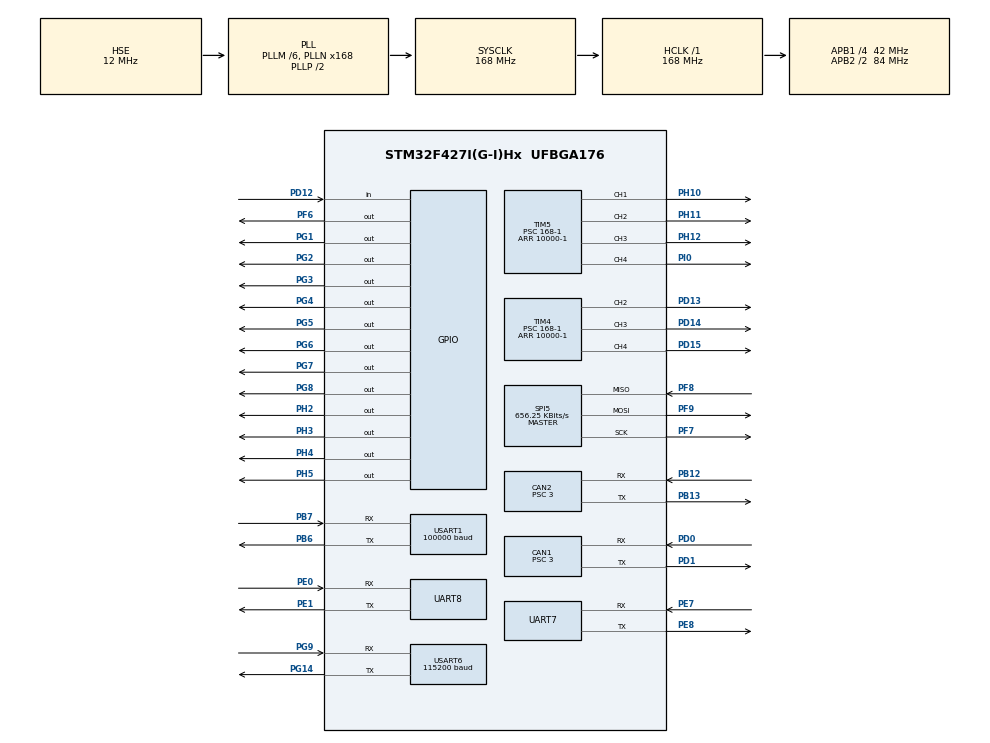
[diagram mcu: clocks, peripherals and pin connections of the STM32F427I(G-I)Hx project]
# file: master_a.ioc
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CAN1.BS1=CAN_BS1_9TQ
CAN1.BS2=CAN_BS2_4TQ
CAN1.CalculateBaudRate=1000000
CAN1.CalculateTimeBit=1000
CAN1.CalculateTimeQuantum=71.42857142857143
CAN1.Prescaler=3
CAN2.BS1=CAN_BS1_9TQ
CAN2.BS2=CAN_BS2_4TQ
CAN2.CalculateBaudRate=1000000
CAN2.CalculateTimeBit=1000
CAN2.CalculateTimeQuantum=71.42857142857143
CAN2.Prescaler=3
Dma.Request0=USART1_RX
Dma.Request1=USART6_RX
Dma.Request2=USART6_TX
Dma.USART1_RX.0.Direction=DMA_PERIPH_TO_MEMORY
Dma.USART1_RX.0.FIFOMode=DMA_FIFOMODE_DISABLE
Dma.USART1_RX.0.Instance=DMA2_Stream2
Dma.USART1_RX.0.MemDataAlignment=DMA_MDATAALIGN_BYTE
Dma.USART1_RX.0.MemInc=DMA_MINC_ENABLE
Dma.USART1_RX.0.Mode=DMA_CIRCULAR
Dma.USART1_RX.0.PeriphDataAlignment=DMA_PDATAALIGN_BYTE
Dma.USART1_RX.0.PeriphInc=DMA_PINC_DISABLE
Dma.USART1_RX.0.Priority=DMA_PRIORITY_MEDIUM
Dma.USART6_RX.1.Direction=DMA_PERIPH_TO_MEMORY
Dma.USART6_RX.1.FIFOMode=DMA_FIFOMODE_DISABLE
Dma.USART6_RX.1.Instance=DMA2_Stream1
Dma.USART6_RX.1.MemDataAlignment=DMA_MDATAALIGN_BYTE
Dma.USART6_RX.1.MemInc=DMA_MINC_ENABLE
Dma.USART6_RX.1.Mode=DMA_CIRCULAR
Dma.USART6_RX.1.PeriphDataAlignment=DMA_PDATAALIGN_BYTE
Dma.USART6_RX.1.PeriphInc=DMA_PINC_DISABLE
Dma.USART6_RX.1.Priority=DMA_PRIORITY_HIGH
Dma.USART6_TX.2.Direction=DMA_MEMORY_TO_PERIPH
Dma.USART6_TX.2.FIFOMode=DMA_FIFOMODE_DISABLE
Dma.USART6_TX.2.Instance=DMA2_Stream6
Dma.USART6_TX.2.MemDataAlignment=DMA_MDATAALIGN_BYTE
Dma.USART6_TX.2.MemInc=DMA_MINC_ENABLE
Dma.USART6_TX.2.Mode=DMA_CIRCULAR
Dma.USART6_TX.2.PeriphDataAlignment=DMA_PDATAALIGN_BYTE
Dma.USART6_TX.2.PeriphInc=DMA_PINC_DISABLE
Dma.USART6_TX.2.Priority=DMA_PRIORITY_HIGH
FREERTOS.INCLUDE_vTaskDelayUntil=1
FREERTOS.Tasks01=defaultTask,0,128,StartDefaultTask,Default,NULL,Dynamic,NULL,NULL
FREERTOS.configENABLE_FPU=1
Mcu.Family=STM32F4
Mcu.Name=STM32F427I(G-I)Hx
Mcu.Package=UFBGA176
NVIC.CAN1_RX0_IRQn=true\:5\:0\:false\:false\:true\:true\:true\:true\:true
NVIC.CAN2_RX1_IRQn=true\:5\:0\:false\:false\:true\:true\:true\:true\:true
NVIC.DMA2_Stream1_IRQn=true\:5\:0\:false\:false\:true\:true\:false\:true\:true
NVIC.DMA2_Stream2_IRQn=true\:5\:0\:false\:false\:true\:true\:false\:true\:true
NVIC.DMA2_Stream6_IRQn=true\:5\:0\:false\:false\:true\:true\:false\:true\:true
NVIC.PriorityGroup=NVIC_PRIORITYGROUP_4
NVIC.TIM8_TRG_COM_TIM14_IRQn=true\:15\:0\:false\:false\:true\:false\:false\:true\:true
NVIC.TimeBase=TIM8_TRG_COM_TIM14_IRQn
NVIC.TimeBaseIP=TIM14
NVIC.UART8_IRQn=true\:5\:0\:false\:false\:true\:true\:true\:true\:true
NVIC.USART1_IRQn=true\:5\:0\:false\:false\:true\:true\:true\:true\:true
NVIC.USART6_IRQn=true\:5\:0\:false\:false\:true\:true\:true\:true\:true
PA13.Mode=Serial_Wire
PA13.Signal=SYS_JTMS-SWDIO
PA14.Mode=Serial_Wire
PA14.Signal=SYS_JTCK-SWCLK
PB12.Mode=CAN_Activate
PB12.Signal=CAN2_RX
PB13.Mode=CAN_Activate
PB13.Signal=CAN2_TX
PB6.Mode=Asynchronous
PB6.Signal=USART1_TX
PB7.Mode=Asynchronous
PB7.Signal=USART1_RX
PD0.Mode=CAN_Activate
PD0.Signal=CAN1_RX
PD1.Mode=CAN_Activate
PD1.Signal=CAN1_TX
PD12.GPIO_PuPd=GPIO_PULLDOWN
PD12.Signal=GPIO_Input
PD13.Signal=S_TIM4_CH2
PD14.Signal=S_TIM4_CH3
PD15.Signal=S_TIM4_CH4
PE0.Mode=Asynchronous
PE0.Signal=UART8_RX
PE1.Mode=Asynchronous
PE1.Signal=UART8_TX
PE7.Mode=Asynchronous
PE7.Signal=UART7_RX
PE8.Mode=Asynchronous
PE8.Signal=UART7_TX
PF6.Signal=GPIO_Output
PF7.Mode=Full_Duplex_Master
PF7.Signal=SPI5_SCK
PF8.Mode=Full_Duplex_Master
PF8.Signal=SPI5_MISO
PF9.Mode=Full_Duplex_Master
PF9.Signal=SPI5_MOSI
PG1.PinState=GPIO_PIN_SET
PG1.Signal=GPIO_Output
PG14.Mode=Asynchronous
PG14.Signal=USART6_TX
PG2.PinState=GPIO_PIN_SET
PG2.Signal=GPIO_Output
PG3.PinState=GPIO_PIN_SET
PG3.Signal=GPIO_Output
PG4.PinState=GPIO_PIN_SET
PG4.Signal=GPIO_Output
PG5.PinState=GPIO_PIN_SET
PG5.Signal=GPIO_Output
PG6.PinState=GPIO_PIN_SET
PG6.Signal=GPIO_Output
PG7.PinState=GPIO_PIN_SET
PG7.Signal=GPIO_Output
PG8.PinState=GPIO_PIN_SET
PG8.Signal=GPIO_Output
PG9.Mode=Asynchronous
PG9.Signal=USART6_RX
PH0/OSC_IN.Mode=HSE-External-Oscillator
PH0/OSC_IN.Signal=RCC_OSC_IN
PH1/OSC_OUT.Mode=HSE-External-Oscillator
PH1/OSC_OUT.Signal=RCC_OSC_OUT
PH10.Signal=S_TIM5_CH1
PH11.Signal=S_TIM5_CH2
PH12.Signal=S_TIM5_CH3
PH2.GPIO_PuPd=GPIO_PULLDOWN
PH2.Signal=GPIO_Output
PH3.GPIO_PuPd=GPIO_PULLDOWN
PH3.Signal=GPIO_Output
PH4.GPIO_PuPd=GPIO_PULLDOWN
PH4.Signal=GPIO_Output
PH5.GPIO_PuPd=GPIO_PULLDOWN
PH5.Signal=GPIO_Output
PI0.Signal=S_TIM5_CH4
ProjectManager.HeapSize=0x200
ProjectManager.StackSize=0x400
ProjectManager.TargetToolchain=MDK-ARM V5.32
RCC.48MHZClocksFreq_Value=84000000
RCC.AHBFreq_Value=168000000
RCC.APB1CLKDivider=RCC_HCLK_DIV4
RCC.APB1Freq_Value=42000000
RCC.APB1TimFreq_Value=84000000
RCC.APB2CLKDivider=RCC_HCLK_DIV2
RCC.APB2Freq_Value=84000000
RCC.APB2TimFreq_Value=168000000
RCC.CortexFreq_Value=168000000
RCC.HCLKFreq_Value=168000000
RCC.HSE_VALUE=12000000
RCC.HSI_VALUE=16000000
RCC.LSE_VALUE=32768
RCC.PLLM=6
RCC.PLLN=168
RCC.PLLSourceVirtual=RCC_PLLSOURCE_HSE
RCC.SYSCLKFreq_VALUE=168000000
RCC.SYSCLKSource=RCC_SYSCLKSOURCE_PLLCLK
RCC.VCOOutputFreq_Value=336000000
SH.S_TIM4_CH2.0=TIM4_CH2,PWM Generation2 CH2
SH.S_TIM4_CH3.0=TIM4_CH3,PWM Generation3 CH3
SH.S_TIM4_CH4.0=TIM4_CH4,PWM Generation4 CH4
SH.S_TIM5_CH1.0=TIM5_CH1,PWM Generation1 CH1
SH.S_TIM5_CH2.0=TIM5_CH2,PWM Generation2 CH2
SH.S_TIM5_CH3.0=TIM5_CH3,PWM Generation3 CH3
SH.S_TIM5_CH4.0=TIM5_CH4,PWM Generation4 CH4
SPI5.BaudRatePrescaler=SPI_BAUDRATEPRESCALER_128
SPI5.CalculateBaudRate=656.25 KBits/s
SPI5.Direction=SPI_DIRECTION_2LINES
SPI5.Mode=SPI_MODE_MASTER
SPI5.VirtualType=VM_MASTER
TIM4.AutoReloadPreload=TIM_AUTORELOAD_PRELOAD_ENABLE
TIM4.Channel-PWM\ Generation2\ CH2=TIM_CHANNEL_2
TIM4.Channel-PWM\ Generation3\ CH3=TIM_CHANNEL_3
TIM4.Channel-PWM\ Generation4\ CH4=TIM_CHANNEL_4
TIM4.Period=10000-1
TIM4.Prescaler=168-1
TIM4.Pulse-PWM\ Generation2\ CH2=250
TIM4.Pulse-PWM\ Generation3\ CH3=250
TIM4.Pulse-PWM\ Generation4\ CH4=250
TIM5.AutoReloadPreload=TIM_AUTORELOAD_PRELOAD_ENABLE
TIM5.Channel-PWM\ Generation1\ CH1=TIM_CHANNEL_1
TIM5.Channel-PWM\ Generation2\ CH2=TIM_CHANNEL_2
TIM5.Channel-PWM\ Generation3\ CH3=TIM_CHANNEL_3
TIM5.Channel-PWM\ Generation4\ CH4=TIM_CHANNEL_4
TIM5.Period=10000-1
TIM5.Prescaler=168-1
TIM5.Pulse-PWM\ Generation1\ CH1=250
TIM5.Pulse-PWM\ Generation2\ CH2=250
TIM5.Pulse-PWM\ Generation3\ CH3=250
TIM5.Pulse-PWM\ Generation4\ CH4=250
UART7.VirtualMode=Asynchronous
UART8.VirtualMode=Asynchronous
USART1.BaudRate=100000
USART1.Parity=PARITY_EVEN
USART1.StopBits=STOPBITS_2
USART1.VirtualMode=VM_ASYNC
USART1.WordLength=WORDLENGTH_9B
USART6.BaudRate=115200
USART6.Mode=MODE_TX_RX
USART6.VirtualMode=VM_ASYNC
VP_FREERTOS_VS_CMSIS_V1.Mode=CMSIS_V1
VP_SYS_VS_tim14.Mode=TIM14
VP_TIM4_VS_ClockSourceINT.Mode=Internal
VP_TIM5_VS_ClockSourceINT.Mode=Internal
board=custom

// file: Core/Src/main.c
/* USER CODE BEGIN Header */
/**
  ******************************************************************************
  * @file           : main.c
  * @brief          : Main program body
  ******************************************************************************
  * @attention
  *
  * Copyright (c) 2025 STMicroelectronics.
  * All rights reserved.
  *
  * This software is licensed under terms that can be found in the LICENSE file
  * in the root directory of this software component.
  * If no LICENSE file comes with this software, it is provided AS-IS.
  *
  ******************************************************************************
  */
/* USER CODE END Header */
#include "main.h"
#include "cmsis_os.h"
#include "can.h"
#include "dma.h"
#include "spi.h"
#include "tim.h"
#include "usart.h"
#include "gpio.h"

/* USER CODE BEGIN Includes */
#include <stdbool.h>
#include <stdlib.h>
#include <math.h>

#include "bsp_can.h"
#include "sbus_set.h"
#include "dm_motor.h"
#include "chassis.h"
#include "wit_motion.h"
#include "pid.h"
/* USER CODE END Includes */

/* USER CODE BEGIN PD */
//#define YAW_HOLD_ENABLE   /* 取消注释 → 开启航向角保持 */

#define led1(dat) HAL_GPIO_WritePin(GPIOG,GPIO_PIN_1,(GPIO_PinState)dat)
#define led2(dat) HAL_GPIO_WritePin(GPIOG,GPIO_PIN_2,(GPIO_PinState)dat)
#define led3(dat) HAL_GPIO_WritePin(GPIOG,GPIO_PIN_3,(GPIO_PinState)dat)
#define led4(dat) HAL_GPIO_WritePin(GPIOG,GPIO_PIN_4,(GPIO_PinState)dat)
#define led5(dat) HAL_GPIO_WritePin(GPIOG,GPIO_PIN_5,(GPIO_PinState)dat)
#define led6(dat) HAL_GPIO_WritePin(GPIOG,GPIO_PIN_6,(GPIO_PinState)dat)
#define led7(dat) HAL_GPIO_WritePin(GPIOG,GPIO_PIN_7,(GPIO_PinState)dat)
#define led8(dat) HAL_GPIO_WritePin(GPIOG,GPIO_PIN_8,(GPIO_PinState)dat)

#define xt1(dat) HAL_GPIO_WritePin(GPIOH,GPIO_PIN_2,(GPIO_PinState)dat)
#define xt2(dat) HAL_GPIO_WritePin(GPIOH,GPIO_PIN_3,(GPIO_PinState)dat)
#define xt3(dat) HAL_GPIO_WritePin(GPIOH,GPIO_PIN_4,(GPIO_PinState)dat)
#define xt4(dat) HAL_GPIO_WritePin(GPIOH,GPIO_PIN_5,(GPIO_PinState)dat)
/* USER CODE END PD */

/* USER CODE BEGIN PV */
uint16_t led_buf = 0x0001;

#define SBUS_TIMEOUT_MS 200
static uint32_t last_sbus_tick = 0;

float set_vx = 0.0f;
float set_vy = 0.0f;
float set_vw = 0.0f;

bool sys_enabled = false;
static bool last_ch4 = false;

/* ---- 航向角 PID 参数 (Keil Watch 窗口可实时修改) ---- */
float yaw_gain[3]  = {0.65f, 0.0f, 0.06f};  /* Kp, Ki, Kd */
float yaw_max_out  = 23.0f;                /* PID 输出限幅 (rad/s) */
float yaw_max_iout = 3.0f;                 /* 积分限幅 */
float yaw_target   = 0.0f;                 /* 目标航向角 (°) */
/* USER CODE END PV */

void SystemClock_Config(void);
void MX_FREERTOS_Init(void);

/* USER CODE BEGIN 0 */
static inline bool sbus_frame_valid(void)
{
	return (sbus_rx_buf[23] == 0x00 && sbus_rx_buf[0] == 0x0f && sbus_rx_buf[24] == 0x00);
}

static inline bool sbus_connected(void)
{
	return (xTaskGetTickCount() - last_sbus_tick) < pdMS_TO_TICKS(SBUS_TIMEOUT_MS);
}

/* 摇杆线性映射 */
static float expo_map(int16_t val, int16_t lo, int16_t hi, int16_t dead, float max_out)
{
    int16_t center = (lo + hi) / 2;
    if (val >= center - dead && val <= center + dead) return 0;
    float t = (float)(abs(val - center) - dead) / (float)((hi - lo) / 2 - dead);
    if (t > 1.0f) t = 1.0f;
    return (val > center ? 1.0f : -1.0f) * t * t * max_out;
}

bool ch_down(int16_t ch)
{
	return sbus_ch.ch[ch] > 1600;
}

static bool ch4_enable(void)
{
	return sbus_ch.ch[4] > 650;   /* 中位或高位 → 使能; 低位 → 锁车 */
}

static void system_enable_handler(void)
{
	bool ch4 = sbus_connected() && ch4_enable();

	if (ch4 && !last_ch4)
	{
		sys_enabled = true;
		chassis_enable();
	}
	else if (!ch4 && last_ch4)
	{
		sys_enabled = false;
		chassis_disable();
	}

	last_ch4 = ch4;
}

void led_task(void *parameter)
{
	while(1)
	{
		HAL_GPIO_TogglePin(GPIOG,led_buf);

		if(led_buf<0x0100){led_buf <<= 1;}
		else{led_buf = 0x0001;}

		vTaskDelay(200);
	}
}

void remote_task(void *parameter)
{
	static PidTypeDef  yaw_pid;
	static bool        yaw_inited   = false;
	static bool        last_enabled = false;

	if (!yaw_inited)
	{
		PID_Init(&yaw_pid, PID_POSITION, yaw_gain, yaw_max_out, yaw_max_iout);
		yaw_inited = true;
	}

	while(1)
	{
		yaw_pid.Kp = yaw_gain[0];
		yaw_pid.Ki = yaw_gain[1];
		yaw_pid.Kd = yaw_gain[2];
		yaw_pid.max_out  = yaw_max_out;
		yaw_pid.max_iout = yaw_max_iout;

		rx_set(&sbus_ch);

		if (sbus_frame_valid())
			last_sbus_tick = xTaskGetTickCount();

		system_enable_handler();

		if (!sys_enabled)
		{
			set_vx = 0; set_vy = 0; set_vw = 0;
			last_enabled = false;
		}

		if (sys_enabled)
		{
			if (!last_enabled)
			{
				yaw_target   = wit_yaw;
				PID_clear(&yaw_pid);
				last_enabled = true;
			}

			int16_t ch_val;

			ch_val = sbus_ch.ch[2];
			set_vx = expo_map(ch_val, 326, 1659, 1, 15.0f);

			ch_val = sbus_ch.ch[3];
			set_vy = expo_map(ch_val, 326, 1659, 1, 15.0f);

			ch_val = sbus_ch.ch[0];
			float stick_vw = expo_map(ch_val, 326, 1659, 2, 10.0f);
			if (stick_vw != 0.0f)
			{
				/* 摇杆偏转 → 开环跟手, 记录目标 */
				yaw_target   = wit_yaw;
				set_vw       = stick_vw;
				PID_clear(&yaw_pid);
			}
			else
			{
				float fdb = wit_yaw;
				while (fdb - yaw_target >  180.0f) fdb -= 360.0f;
				while (fdb - yaw_target < -180.0f) fdb += 360.0f;
				if (fabsf(fdb - yaw_target) < 0.3f)
					set_vw = 0;
				else
					set_vw = -PID_Calc(&yaw_pid, fdb, yaw_target);
			}
		}

		vTaskDelay(10);
	}
}

void chassis_task(void *parameter)
{
	while(1)
	{
		if (sys_enabled)
		{
			chassis_update();
		}
		else
		{
			vTaskDelay(2);
		}
	}
}

void start_task(void *parameter)
{
	while(1)
	{
		xt1(0);
		xt2(0);
		xt3(0);
		xt4(0);

		can_filter_init();
		sbus_rx_init();
		wit_init();
		chassis_init();

		xTaskCreate(led_task,"led_task",128,NULL,0,NULL);
		xTaskCreate(remote_task,"remote_task",512,NULL,0,NULL);
		xTaskCreate(chassis_task,"chassis_task",1024,NULL,0,NULL);

		vTaskDelete(NULL);
	}
}

/* USER CODE END 0 */

int main(void)
{

  /* MCU Configuration--------------------------------------------------------*/

  /* Reset of all peripherals, Initializes the Flash interface and the Systick. */
  HAL_Init();

  /* Configure the system clock */
  SystemClock_Config();

  /* Initialize all configured peripherals */
  MX_GPIO_Init();
  MX_DMA_Init();
  MX_USART1_UART_Init();
  MX_CAN1_Init();
  MX_CAN2_Init();
  MX_UART7_Init();
  MX_UART8_Init();
  MX_USART6_UART_Init();
  MX_TIM5_Init();
  MX_TIM4_Init();
  MX_SPI5_Init();
  /* USER CODE BEGIN 2 */

	if (xTaskCreate(start_task, "start_task", 256, NULL, 0, NULL) != pdPASS)
	{
		while(1);
	}

  /* USER CODE END 2 */

  /* Call init function for freertos objects (in cmsis_os2.c) */
  MX_FREERTOS_Init();

  /* Start scheduler */
  osKernelStart();

  /* We should never get here as control is now taken by the scheduler */

  /* Infinite loop */
  while (1)
  {

  }
}

void SystemClock_Config(void)
{
  RCC_OscInitTypeDef RCC_OscInitStruct = {0};
  RCC_ClkInitTypeDef RCC_ClkInitStruct = {0};

  /** Configure the main internal regulator output voltage
  */
  __HAL_RCC_PWR_CLK_ENABLE();
  __HAL_PWR_VOLTAGESCALING_CONFIG(PWR_REGULATOR_VOLTAGE_SCALE1);

  /** Initializes the RCC Oscillators according to the specified parameters
  * in the RCC_OscInitTypeDef structure.
  */
  RCC_OscInitStruct.OscillatorType = RCC_OSCILLATORTYPE_HSE;
  RCC_OscInitStruct.HSEState = RCC_HSE_ON;
  RCC_OscInitStruct.PLL.PLLState = RCC_PLL_ON;
  RCC_OscInitStruct.PLL.PLLSource = RCC_PLLSOURCE_HSE;
  RCC_OscInitStruct.PLL.PLLM = 6;
  RCC_OscInitStruct.PLL.PLLN = 168;
  RCC_OscInitStruct.PLL.PLLP = RCC_PLLP_DIV2;
  RCC_OscInitStruct.PLL.PLLQ = 4;
  if (HAL_RCC_OscConfig(&RCC_OscInitStruct) != HAL_OK)
  {
    Error_Handler();
  }

  /** Initializes the CPU, AHB and APB buses clocks
  */
  RCC_ClkInitStruct.ClockType = RCC_CLOCKTYPE_HCLK|RCC_CLOCKTYPE_SYSCLK
                              |RCC_CLOCKTYPE_PCLK1|RCC_CLOCKTYPE_PCLK2;
  RCC_ClkInitStruct.SYSCLKSource = RCC_SYSCLKSOURCE_PLLCLK;
  RCC_ClkInitStruct.AHBCLKDivider = RCC_SYSCLK_DIV1;
  RCC_ClkInitStruct.APB1CLKDivider = RCC_HCLK_DIV4;
  RCC_ClkInitStruct.APB2CLKDivider = RCC_HCLK_DIV2;

  if (HAL_RCC_ClockConfig(&RCC_ClkInitStruct, FLASH_LATENCY_5) != HAL_OK)
  {
    Error_Handler();
  }
}

void HAL_TIM_PeriodElapsedCallback(TIM_HandleTypeDef *htim)
{
  if (htim->Instance == TIM14)
  {
    HAL_IncTick();
  }
}

void Error_Handler(void)
{
  __disable_irq();
  while (1)
  {
  }
}
